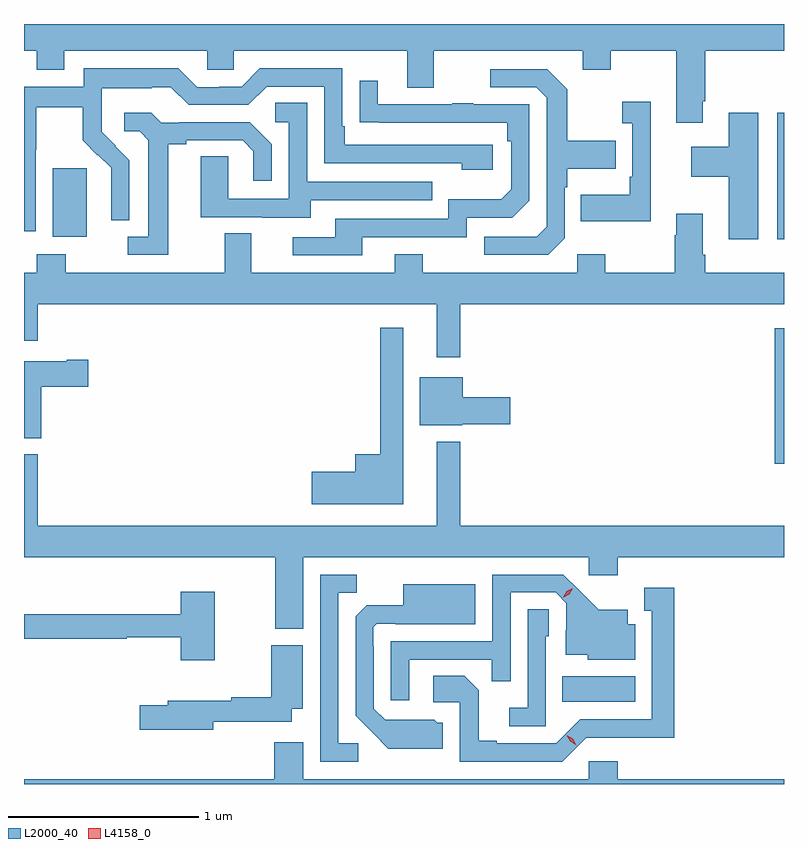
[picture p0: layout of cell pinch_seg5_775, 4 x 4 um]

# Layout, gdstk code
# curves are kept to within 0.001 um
import gdstk
lib = gdstk.Library(unit=1e-6, precision=1e-09)
def R(c, l, rs):  # rectangles x0, y0, x1, y1
    for r in rs: c.add(gdstk.rectangle(r[:2], r[2:], *l))
def P(c, l, *ps):  # polygons
    for p in ps: c.add(gdstk.Polygon(p, *l))
L2000_40 = (2000, 40)
L4158_0 = (4158, 0)

pinch_seg5_775 = lib.new_cell('pinch_seg5_775')
R(pinch_seg5_775, L2000_40, [(793.6,907.946,793.984,908.08), (794.72,909.2,794.768,909.913), (794.732,910.38,794.768,911.047), (790.919,910.394,791.098,910.755)])
P(pinch_seg5_775, L2000_40, [(794.341,911.107),(794.354,911.107),(794.354,911.372),(794.768,911.372),(794.768,911.514),(790.768,911.514),(790.768,911.372),(790.834,911.372),(790.834,911.273),(790.981,911.273),(790.981,911.372),(791.733,911.372),(791.733,911.274),(791.871,911.274),(791.871,911.372),(792.785,911.372),(792.785,911.178),(792.925,911.178),(792.925,911.372),(793.709,911.372),(793.709,911.273),(793.857,911.273),(793.857,911.372),(794.201,911.372),(794.201,910.995),(794.341,910.995)],
  [(790.83,910.852),(790.833,910.852),(790.833,911.076),(791.077,911.076),(791.077,910.901),(791.154,910.824),(791.157,910.827),(791.228,910.757),(791.228,910.634),(791.226,910.634),(791.226,910.48),(791.322,910.48),(791.322,910.798),(791.176,910.946),(791.176,911.043),(791.178,911.043),(791.178,911.177),(791.441,911.177),(791.441,911.181),(791.541,911.181),(791.634,911.088),(791.949,911.088),(792.045,911.184),(792.348,911.184),(792.348,910.782),(793.073,910.782),(793.073,910.748),(793.234,910.748),(793.234,910.878),(792.457,910.878),(792.457,910.975),(792.444,910.975),(792.444,911.28),(792.009,911.28),(791.913,911.184),(791.795,911.184),(791.795,911.181),(791.679,911.181),(791.579,911.281),(791.082,911.281),(791.082,911.184),(790.768,911.184),(790.768,910.423),(790.83,910.423)],
  [(793.614,910.386),(793.614,910.655),(793.627,910.655),(793.627,910.751),(793.883,910.751),(793.883,910.899),(793.627,910.899),(793.627,911.171),(793.521,911.277),(793.221,911.277),(793.221,911.181),(793.464,911.181),(793.518,911.127),(793.518,910.446),(793.467,910.395),(793.191,910.395),(793.191,910.299),(793.527,910.299)],
  [(792.547,910.392),(793.098,910.392),(793.098,910.494),(793.338,910.494),(793.428,910.584),(793.428,911.091),(793.133,911.091),(793.133,911.096),(793.021,911.096),(793.021,911.091),(792.631,911.091),(792.631,911.215),(792.535,911.215),(792.535,910.996),(793.312,910.995),(793.312,910.898),(793.332,910.898),(793.332,910.644),(793.279,910.591),(793.002,910.591),(793.002,910.488),(792.407,910.488),(792.407,910.392),(792.183,910.392),(792.183,910.296),(792.547,910.296)],
  [(794.066,911.104),(793.917,911.104),(793.917,910.991),(793.968,910.991),(793.968,910.711),(793.956,910.711),(793.956,910.615),(793.699,910.615),(793.699,910.475),(794.066,910.475)],
  [(792.277,910.587),(792.917,910.587),(792.917,910.683),(792.258,910.683),(792.258,911.099),(792.09,911.099),(792.09,910.998),(792.162,910.998),(792.162,910.593),(791.844,910.593),(791.844,910.817),(791.699,910.817),(791.699,910.497),(792.023,910.497),(792.023,910.493),(792.277,910.493)],
  [(791.527,910.88),(791.623,910.88),(791.623,910.902),(791.918,910.902),(791.975,910.845),(791.975,910.689),(792.072,910.689),(792.072,910.882),(791.956,910.998),(791.584,910.998),(791.584,910.995),(791.49,910.995),(791.438,911.047),(791.295,911.047),(791.295,910.95),(791.376,910.95),(791.423,910.903),(791.423,910.395),(791.313,910.395),(791.313,910.299),(791.527,910.299)],
  [(794.632,911.047),(794.477,911.047),(794.477,910.867),(794.28,910.867),(794.28,910.709),(794.477,910.709),(794.477,910.38),(794.632,910.38)],
  [(793.063,910.04),(794.768,910.04),(794.768,910.204),(794.354,910.204),(794.354,910.3),(794.341,910.3),(794.341,910.516),(794.201,910.516),(794.201,910.403),(794.194,910.403),(794.194,910.204),(793.827,910.204),(793.827,910.303),(793.68,910.303),(793.68,910.204),(792.867,910.204),(792.867,910.303),(792.719,910.303),(792.719,910.204),(791.965,910.204),(791.965,910.412),(791.825,910.412),(791.825,910.204),(790.989,910.204),(790.989,910.303),(790.834,910.303),(790.834,910.204),(790.768,910.204),(790.768,909.846),(790.841,909.846),(790.841,910.04),(792.941,910.04),(792.941,909.759),(793.063,909.759)],
  [(792.763,909.916),(792.642,909.916),(792.642,909.25),(792.512,909.25),(792.512,909.158),(792.282,909.158),(792.282,908.987),(792.763,908.987)],
  [(790.858,909.605),(791.107,909.605),(791.107,909.747),(790.994,909.747),(790.994,909.739),(790.768,909.739),(790.768,909.335),(790.858,909.335)],
  [(793.074,909.407),(793.327,909.407),(793.327,909.549),(793.078,909.549),(793.078,909.655),(792.851,909.655),(792.851,909.401),(793.074,909.401)],
  [(792.238,908.708),(793.74,908.708),(793.74,908.613),(793.892,908.613),(793.892,908.708),(794.768,908.708),(794.768,908.872),(793.063,908.872),(793.063,909.316),(792.941,909.316),(792.941,908.872),(790.841,908.872),(790.841,909.25),(790.768,909.25),(790.768,908.708),(792.091,908.708),(792.091,908.33),(792.238,908.33)],
  [(792.526,907.728),(792.423,907.728),(792.423,908.521),(792.519,908.521),(792.519,908.616),(792.327,908.616),(792.327,907.632),(792.526,907.632)],
  [(792.795,908.169),(793.231,908.169),(793.231,908.056),(793.329,908.056),(793.329,908.523),(793.566,908.523),(793.623,908.466),(793.623,908.324),(793.619,908.324),(793.619,908.195),(793.734,908.195),(793.734,908.168),(793.984,908.168),(793.984,908.355),(793.945,908.355),(793.945,908.431),(793.793,908.431),(793.606,908.616),(793.233,908.616),(793.233,908.265),(792.699,908.265),(792.699,907.956),(792.795,907.956)],
  [(792.973,907.836),(792.942,907.836),(792.926,907.852),(792.669,907.851),(792.609,907.911),(792.609,908.24),(792.606,908.24),(792.606,908.34),(792.624,908.358),(792.724,908.358),(792.724,908.354),(793.144,908.354),(793.144,908.566),(792.764,908.566),(792.764,908.455),(792.572,908.455),(792.513,908.396),(792.513,907.874),(792.685,907.7),(792.973,907.7)],
  [(793.728,907.758),(794.191,907.757),(794.191,908.548),(794.033,908.548),(794.033,908.427),(794.072,908.427),(794.072,907.854),(793.695,907.854),(793.569,907.728),(793.255,907.728),(793.255,907.741),(793.161,907.741),(793.161,908.008),(793.085,908.084),(792.921,908.084),(792.921,907.944),(793.062,907.944),(793.062,907.632),(793.602,907.632)],
  [(791.772,908.527),(791.594,908.527),(791.594,908.407),(790.768,908.407),(790.768,908.278),(791.31,908.278),(791.31,908.286),(791.594,908.286),(791.594,908.166),(791.772,908.166)],
  [(793.515,908.292),(793.53,908.292),(793.53,908.435),(793.419,908.435),(793.419,907.915),(793.323,907.915),(793.323,907.818),(793.515,907.818)],
  [(791.764,907.842),(792.178,907.842),(792.178,907.91),(792.235,907.91),(792.235,908.245),(792.068,908.245),(792.068,907.97),(791.86,907.97),(791.86,907.952),(791.525,907.952),(791.525,907.929),(791.376,907.929),(791.376,907.799),(791.764,907.799)],
  [(794.768,907.54),(793.892,907.54),(793.892,907.633),(793.74,907.633),(793.74,907.54),(792.238,907.54),(792.238,907.735),(792.086,907.735),(792.086,907.54),(790.768,907.54),(790.768,907.514),(794.768,907.514)])
P(pinch_seg5_775, L4158_0, [(793.607,908.498),(793.607,908.498),(793.624,908.528),(793.655,908.544),(793.655,908.544),(793.655,908.543),(793.638,908.514),(793.608,908.498)],
  [(793.674,907.719),(793.642,907.738),(793.625,907.77),(793.625,907.77),(793.625,907.77),(793.657,907.751),(793.674,907.719),(793.674,907.719)])

lib.write_gds('pinch_seg5_775.gds')
